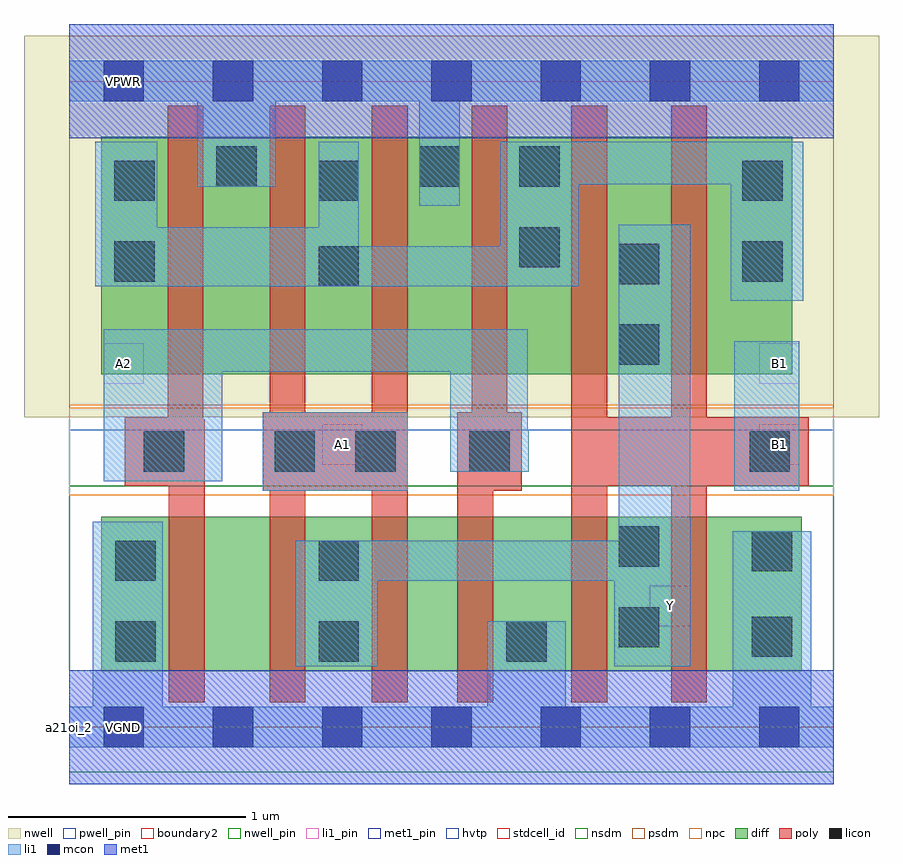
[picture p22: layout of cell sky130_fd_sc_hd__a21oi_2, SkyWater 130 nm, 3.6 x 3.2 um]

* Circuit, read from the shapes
.subckt sky130_fd_sc_hd__a21oi_2 A1 A2 B1 VGND VNB VPB VPWR Y
XM1 n1 A2 VGND VNB sky130_fd_pr__nfet_01v8 w=0.65 l=0.15
XM2 Y A1 n1 VNB sky130_fd_pr__nfet_01v8 w=0.65 l=0.15
XM3 n2 A1 Y VNB sky130_fd_pr__nfet_01v8 w=0.65 l=0.15
XM4 VGND A2 n2 VNB sky130_fd_pr__nfet_01v8 w=0.65 l=0.15
XM5 Y B1 VGND VNB sky130_fd_pr__nfet_01v8 w=0.65 l=0.15 m=2
XM6 VPWR A2 n3 VPB sky130_fd_pr__pfet_01v8_hvt w=1 l=0.15 m=2
XM7 n3 A1 VPWR VPB sky130_fd_pr__pfet_01v8_hvt w=1 l=0.15 m=2
XM8 Y B1 n3 VPB sky130_fd_pr__pfet_01v8_hvt w=1 l=0.15 m=2
.ends

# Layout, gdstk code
import gdstk
lib = gdstk.Library(unit=1e-6, precision=1e-09)
def R(c, l, rs):  # rectangles x0, y0, x1, y1
    for r in rs: c.add(gdstk.rectangle(r[:2], r[2:], *l))
def A(c, l, x, y, w, h, nx, ny, dx, dy):  # array of equal rectangles
    R(c, l, [(x+i*dx, y+j*dy, x+i*dx+w, y+j*dy+h) for i in range(nx) for j in range(ny)])
def P(c, l, *ps):  # polygons
    for p in ps: c.add(gdstk.Polygon(p, *l))
nwell_pin = (64, 16)
nwell = (64, 20)
diff = (65, 20)
poly = (66, 20)
licon = (66, 44)
li1_pin = (67, 16)
li1 = (67, 20)
mcon = (67, 44)
met1_pin = (68, 16)
met1 = (68, 20)
hvtp = (78, 44)
stdcell_id = (81, 4)
nsdm = (93, 44)
psdm = (94, 20)
npc = (95, 20)
pwell_pin = (122, 16)
boundary2 = (236, 0)

sky130_fd_sc_hd__a21oi_2 = lib.new_cell('sky130_fd_sc_hd__a21oi_2')
R(sky130_fd_sc_hd__a21oi_2, nwell_pin, [(0.145,2.635,0.315,2.805)])
R(sky130_fd_sc_hd__a21oi_2, nwell, [(-0.19,1.305,3.41,2.91)])
R(sky130_fd_sc_hd__a21oi_2, diff, [(0.135,0.235,3.085,0.885), (0.135,1.485,3.045,2.485)])
R(sky130_fd_sc_hd__a21oi_2, poly, [(0.42,0.105,0.57,1.295)])
P(sky130_fd_sc_hd__a21oi_2, poly, [(0.845,0.105),(0.845,0.995),(0.815,0.995),(0.815,1.325),(0.845,1.325),(0.845,2.615),(0.995,2.615),(0.995,1.325),(1.275,1.325),(1.275,2.615),(1.425,2.615),(1.425,0.105),(1.275,0.105),(1.275,0.995),(0.995,0.995),(0.995,0.105)],
  [(1.635,0.105),(1.635,1.325),(1.695,1.325),(1.695,2.615),(1.845,2.615),(1.845,1.325),(1.905,1.325),(1.905,0.995),(1.785,0.995),(1.785,0.105)],
  [(2.115,0.105),(2.115,2.615),(2.265,2.615),(2.265,1.305),(2.535,1.305),(2.535,2.615),(2.685,2.615),(2.685,1.305),(3.115,1.305),(3.115,1.015),(2.685,1.015),(2.685,0.105),(2.535,0.105),(2.535,1.015),(2.265,1.015),(2.265,0.105)],
  [(0.235,1.015),(0.235,1.305),(0.415,1.305),(0.415,2.615),(0.565,2.615),(0.565,1.015)])
R(sky130_fd_sc_hd__a21oi_2, licon, [(0.195,0.275,0.365,0.445), (1.05,0.275,1.22,0.445), (1.84,0.275,2.01,0.445), (2.875,0.295,3.045,0.465), (2.315,0.335,2.485,0.505), (0.195,0.615,0.365,0.785), (1.05,0.615,1.22,0.785), (2.875,0.655,3.045,0.825), (2.315,0.675,2.485,0.845), (0.315,1.075,0.485,1.245), (0.865,1.075,1.035,1.245), (1.205,1.075,1.375,1.245), (1.685,1.075,1.855,1.245), (2.865,1.075,3.035,1.245), (2.315,1.525,2.485,1.695), (1.05,1.855,1.22,2.025), (2.315,1.865,2.485,2.035), (0.19,1.875,0.36,2.045), (2.835,1.875,3.005,2.045), (1.895,1.935,2.065,2.105), (0.19,2.215,0.36,2.385), (1.05,2.215,1.22,2.385), (2.835,2.215,3.005,2.385), (0.62,2.275,0.79,2.445), (1.475,2.275,1.645,2.445), (1.895,2.275,2.065,2.445)])
R(sky130_fd_sc_hd__a21oi_2, li1_pin, [(2.445,0.425,2.615,0.595), (1.065,1.105,1.235,1.275), (2.905,1.105,3.075,1.275), (0.145,1.445,0.315,1.615), (2.905,1.445,3.075,1.615)])
R(sky130_fd_sc_hd__a21oi_2, li1, [(0.815,0.995,1.425,1.325), (2.8,0.995,3.075,1.625)])
P(sky130_fd_sc_hd__a21oi_2, li1, [(0,-0.085),(0,0.085),(0.1,0.085),(0.1,0.865),(0.395,0.865),(0.395,0.085),(1.76,0.085),(1.76,0.445),(2.09,0.445),(2.09,0.085),(2.795,0.085),(2.795,0.825),(3.125,0.825),(3.125,0.085),(3.22,0.085),(3.22,-0.085)],
  [(1.475,2.195),(1.475,2.635),(0.87,2.635),(0.87,2.275),(0.54,2.275),(0.54,2.635),(0,2.635),(0,2.805),(3.22,2.805),(3.22,2.635),(1.645,2.635),(1.645,2.195)],
  [(2.785,1.795),(2.785,2.285),(2.145,2.285),(2.145,1.855),(0.11,1.855),(0.11,2.465),(0.37,2.465),(0.37,2.105),(1.05,2.105),(1.05,2.465),(1.22,2.465),(1.22,2.025),(1.815,2.025),(1.815,2.465),(3.09,2.465),(3.09,1.795)],
  [(0.145,1.035),(0.145,1.675),(1.93,1.675),(1.93,1.245),(1.935,1.245),(1.935,1.075),(1.605,1.075),(1.605,1.495),(0.645,1.495),(0.645,1.035)],
  [(0.955,0.255),(0.955,0.785),(2.315,0.785),(2.315,2.115),(2.615,2.115),(2.615,0.255),(2.295,0.255),(2.295,0.615),(1.3,0.615),(1.3,0.255)])
A(sky130_fd_sc_hd__a21oi_2, mcon, 0.145, -0.085, 0.17, 0.17, 7, 2, 0.46, 2.72)
R(sky130_fd_sc_hd__a21oi_2, met1_pin, [(0.145,-0.085,0.315,0.085), (0.145,2.635,0.315,2.805)])
R(sky130_fd_sc_hd__a21oi_2, hvtp, [(0,1.25,3.22,2.72)])
R(sky130_fd_sc_hd__a21oi_2, stdcell_id, [(0,0,3.22,2.72)])
R(sky130_fd_sc_hd__a21oi_2, nsdm, [(0,-0.19,3.22,1.015)])
R(sky130_fd_sc_hd__a21oi_2, psdm, [(0,1.355,3.22,2.91)])
R(sky130_fd_sc_hd__a21oi_2, npc, [(0,0.975,3.22,1.345)])
R(sky130_fd_sc_hd__a21oi_2, pwell_pin, [(0.145,-0.085,0.315,0.085)])
R(sky130_fd_sc_hd__a21oi_2, boundary2, [(0,0,3.22,2.72)])
sky130_fd_sc_hd__a21oi_2.add(gdstk.FlexPath([(0,2.72),(3.22,2.72)], 0.48, ends="flush", simple_path=True, layer=68, datatype=20))  # met1
sky130_fd_sc_hd__a21oi_2.add(gdstk.FlexPath([(0,0),(3.22,0)], 0.48, ends="flush", simple_path=True, layer=68, datatype=20))  # met1
sky130_fd_sc_hd__a21oi_2.add(gdstk.Label('B1', (2.99,1.19), layer=67, texttype=5))
sky130_fd_sc_hd__a21oi_2.add(gdstk.Label('B1', (2.99,1.53), layer=67, texttype=5))
sky130_fd_sc_hd__a21oi_2.add(gdstk.Label('A2', (0.23,1.53), layer=67, texttype=5))
sky130_fd_sc_hd__a21oi_2.add(gdstk.Label('A1', (1.15,1.19), layer=67, texttype=5))
sky130_fd_sc_hd__a21oi_2.add(gdstk.Label('Y', (2.53,0.51), layer=67, texttype=5))
sky130_fd_sc_hd__a21oi_2.add(gdstk.Label('VGND', (0.23,0), layer=68, texttype=5))
sky130_fd_sc_hd__a21oi_2.add(gdstk.Label('VPWR', (0.23,2.72), layer=68, texttype=5))
sky130_fd_sc_hd__a21oi_2.add(gdstk.Label('VPB', (0.23,2.72), layer=64, texttype=5))
sky130_fd_sc_hd__a21oi_2.add(gdstk.Label('VNB', (0.23,0), layer=64, texttype=59))
sky130_fd_sc_hd__a21oi_2.add(gdstk.Label('a21oi_2', (0,0), layer=83, texttype=44))

lib.write_gds('sky130_fd_sc_hd__a21oi_2.gds')
